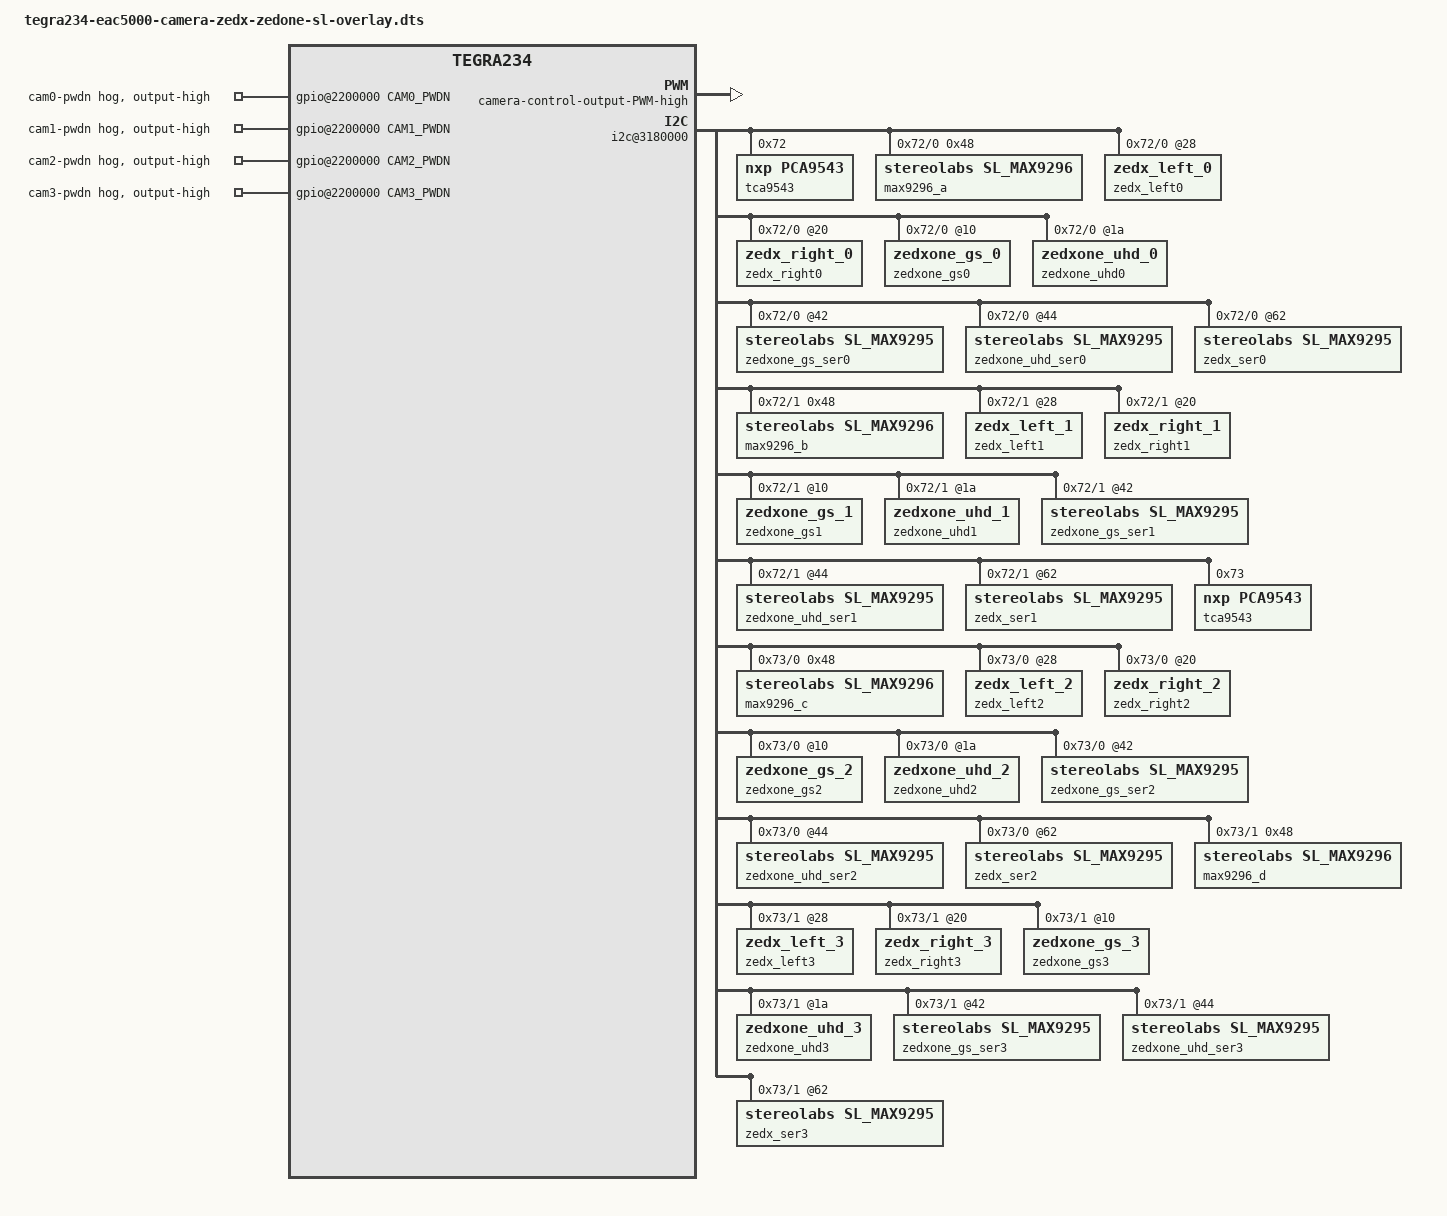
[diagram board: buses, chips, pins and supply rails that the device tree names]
/*
 * Copyright (c) 2018-2022, NVIDIA CORPORATION.  All rights reserved.
 *
 * This program is free software; you can redistribute it and/or modify
 * it under the terms of the GNU General Public License as published by
 * the Free Software Foundation; either version 2 of the License, or
 * (at your option) any later version.
 *
 * This program is distributed in the hope that it will be useful, but WITHOUT
 * ANY WARRANTY; without even the implied warranty of MERCHANTABILITY or
 * FITNESS FOR A PARTICULAR PURPOSE.  See the GNU General Public License for
 * more details.
 *
 * You should have received a copy of the GNU General Public License
 * along with this program.  If not, see <http://www.gnu.org/licenses/>.
 */

/dts-v1/;
/plugin/;

#include "tegra234-camera-zedx-zedxone-zedxoneuhd-eac5000-agx.dtsi"

#include "dt-bindings/clock/tegra234-clock.h"
//#include <dt-bindings/tegra234-p3767-0000-common.h>

//#include "tegra234-camera-zedlink-quad-p3737-agx.dtsi"
#include "dt-bindings/gpio/tegra234-gpio.h"
#include <dt-bindings/tegra234-p3737-0000+p3701-0000.h>

#define CAM0_RST	TEGRA234_MAIN_GPIO(H, 3)
#define CAM1_RST	TEGRA234_MAIN_GPIO(AC, 1)

#define CAM0_PWDN	TEGRA234_MAIN_GPIO(H, 6)
#define CAM1_PWDN	TEGRA234_MAIN_GPIO(AC, 0)
#define CAM2_PWDN	TEGRA234_MAIN_GPIO(H, 3)
#define CAM3_PWDN	TEGRA234_MAIN_GPIO(AC, 1)
#define CAM_PWM		TEGRA234_MAIN_GPIO(M, 7)
#define CAMERA_I2C_MUX_BUS(x) (0x1E + x)


/* camera control gpio definitions */

/*/delete-node/ &cam_i2cmux;*/

/ {	
	overlay-name = "EAC5000 StereoLabs Camera ZED Device Tree Overlay";
	jetson-header-name = "Jetson AGX CSI Connector";
	compatible = JETSON_COMPATIBLE;

	fragment-camera-imx185@0 {
		target-path = "/";
		__overlay__ {
			bus@0 {
				gpio@2200000 {
					camera-control-output-low {
						status = "disabled";
					};
				};
			};
		};
	};
	fragment-camera-imx274@0 {
		target-path = "/";
		__overlay__ {
			bus@0 {
				gpio@2200000 {
					camera-control-output-low {
						status = "disabled";
					};
				};
			};
		};
	};
	/* E3333 camera */
	fragment@0 {
		target-path = "/";
		__overlay__ {
			bus@0 {
				gpio@2200000 {
					camera-control-output-low {
						status = "disabled";
					};
				};
			};
		};
	};
	/* E3331 camera */
	fragment-camera@0 {
		target-path = "/";
		__overlay__ {
			bus@0 {
				gpio@2200000 {
					camera-control-output-low {
						status = "disabled";
					};
				};
			};
		};
	};
	fragment-camera-module@0 {
		target-path = "/";
		__overlay__ {
			bus@0 {
				gpio@2200000 {
					camera-control-output-low {
						status = "disabled";
					};
				};
			};
		};
	};
	fragment-camera-howl@0 {
		target-path = "/";
		__overlay__ {
			bus@0 {
				gpio@2200000 {
					camera-control-output-low {
						status = "disabled";
					};
				};
			};
		};
	};

	fragment-camera-vecow-zedx@0 {
		target-path = "/";
		__overlay__ {
			bus@0 {
				i2c@3180000 {
					tca9543@72 {
						compatible = "nxp,pca9543";
						reg = <0x72>;
						#address-cells = <1>;
						#size-cells = <0>;
						i2c-mux-idle-disconnect;
						idle-state = <1>;
						skip_mux_detect = "yes";
						status = "okay";
						force_bus_start = <CAMERA_I2C_MUX_BUS(0)>; /* Force start of bus 30 */
						/* /dev/i2c-30/ */
						i2c@0 {
							reg = <0>;
							i2c-mux,deselect-on-exit;
							#address-cells = <1>;
							#size-cells = <0>;
							status = "okay";
							/* deserializer MAX9296 at address 0x48*/

							max9296_a@48 {
								compatible = "stereolabs,sl_max9296";
								reg = <0x48>;  /* deserializer i2c_address */
								channel = "a"; /* deserializer channel: one per deser */
								camera-serializers = <&zedx_ser0 &zedxone_gs_ser0 &zedxone_uhd_ser0>;
								sync_mode = "master";
							};

							/* ZEDX 0 Left Cam*/
							zedx_left0:zedx_left_0@28 {
								status = "okay";
								/* Define any required hw resources needed by driver */
								/* ie. clocks, io pins, power sources */
								def-addr = <0x28>;
								clocks = <&bpmp TEGRA234_CLK_EXTPERIPH1>,
										<&bpmp TEGRA234_CLK_EXTPERIPH1>;
								clock-names = "extperiph1", "pllp_grtba";
								mclk = "extperiph1";
								channel = "a"; /* deserializer channel */
								zedx-id = "0";
								mode = "slave"; /* the master role is to initialize */
								/* all the serializers connected to the same */
								/* deserializer. -> one per ZEDX*/
								/* This master initializes the serializers */
								/* of ZEDX 0 and ZEDX 1. */
							};

							/* ZEDX 0 Right Cam*/
							zedx_right0:zedx_right_0@20 {
								status = "okay";
								/* Define any required hw resources needed by driver */
								/* ie. clocks, io pins, power sources */
								def-addr = <0x20>;
								clocks = <&bpmp TEGRA234_CLK_EXTPERIPH1>,
												<&bpmp TEGRA234_CLK_EXTPERIPH1>;
								clock-names = "extperiph1", "pllp_grtba";
								mclk = "extperiph1";
								channel = "a";  /* deserializer channel */
								zedx-id = "0";
								mode = "slave"; /* the serializer of the ZEDX 0 is already */
								/* initialized */
								eeprom-addr = <0x54>;
								has-eeprom;
							};
							
							/* ZEDX One GS 0 Cam*/
							zedxone_gs0:zedxone_gs_0@10 {
								status = "okay";
								/* Define any required hw resources needed by driver */
								/* ie. clocks, io pins, power sources */
								clocks = <&bpmp TEGRA234_CLK_EXTPERIPH1>,
										<&bpmp TEGRA234_CLK_EXTPERIPH1>;
								clock-names = "extperiph1", "pllp_grtba";
								mclk = "extperiph1";
								zedx-id = "1";
								channel = "a";   /* deserializer channel */
								mode = "slave"; /* the master role is to initialize */
										/* all the serializers connected to the same */
										/* deserializer. -> one per ZEDX*/
										/* This master initializes the serializers */
										/* of ZEDX 0 and ZEDX 1. */
								eeprom-addr = <0x56>;
								has-eeprom;
							};

							/*ZEDX One UHD 0 Cam*/
							zedxone_uhd0:zedxone_uhd_0@1a {
								/* Define any required hw resources needed by driver */
								/* ie. clocks, io pins, power sources */
								clocks = <&bpmp TEGRA234_CLK_EXTPERIPH1>,
										<&bpmp TEGRA234_CLK_EXTPERIPH1>;
								clock-names = "extperiph1", "pllp_grtba";
								mclk = "extperiph1";
								zedx-uhd-id = "0";
								channel = "a";
								mode = "slave";
								has-eeprom;
								eeprom-addr=<0x54>;
							};

							/* Serializers */
							zedxone_gs_ser0:zedxone_gs_ser_0@42 {
								compatible = "stereolabs,sl_max9295";
								channel = "a";
								camera_model = "zedonegs";
								mode = "master";
								zedx-id = "1";
								camera-sensors = <&zedxone_gs0>;
							};

							zedxone_uhd_ser0:zedxone_uhd_ser_0@44 {
								compatible = "stereolabs,sl_max9295";
								channel = "a";
								camera_model = "zedone4k";
								mode = "master";
								camera-sensors = <&zedxone_uhd0>;
								zedx-uhd-id = "0";
							};

							zedx_ser0:zedx_ser_0@62 {
								compatible = "stereolabs,sl_max9295";
								channel = "a";
								camera_model = "zedx";
								mode = "master";
								zedx-id = "0";
								camera-sensors = <&zedx_left0 &zedx_right0>;
							};
						};

						/* /dev/i2c-31/ */
						i2c@1 {

							reg = <1>;
							i2c-mux,deselect-on-exit;
							#address-cells = <1>;
							#size-cells = <0>;
							//status = "okay";

							/* deserializer MAX9296 at address 0x48*/
							max9296_b@48 {
								compatible = "stereolabs,sl_max9296";
								reg = <0x48>;  /* deserializer i2c_address */
								channel = "b"; /* deserializer channel: one per deser */
								camera-serializers = <&zedx_ser1 &zedxone_gs_ser1 &zedxone_uhd_ser1>;
							};

							/* ZEDX 1 Left Cam*/
							zedx_left1:zedx_left_1@28 {
								status = "okay";
								def-addr = <0x28>;
								/* Define any required hw resources needed by driver */
								/* ie. clocks, io pins, power sources */
								clocks = <&bpmp TEGRA234_CLK_EXTPERIPH1>,
										<&bpmp TEGRA234_CLK_EXTPERIPH1>;
								clock-names = "extperiph1", "pllp_grtba";
								mclk = "extperiph1";
								channel = "b";  /* deserializer channel: same as ZEDX 0 */
								zedx-id = "2";
								mode = "slave"; /* the serializer of the ZEDX 1 is */
										/* initialized at the same time as the*/
										/* serializer of the ZEDX 0 */
								eeprom-addr = <0x54>;
								has-eeprom;
							};

							/* ZEDX 1 Right Cam*/
							zedx_right1:zedx_right_1@20 {
								status = "okay";
								def-addr = <0x20>;
								/* Define any required hw resources needed by driver */
								/* ie. clocks, io pins, power sources */
								clocks = <&bpmp TEGRA234_CLK_EXTPERIPH1>,
												<&bpmp TEGRA234_CLK_EXTPERIPH1>;
								clock-names = "extperiph1", "pllp_grtba";
								mclk = "extperiph1";
								channel = "b"; /* deserializer channel: same as ZEDX 0 */
								zedx-id = "2";
								mode = "slave"; /* the serializer of the ZEDX 1 is */
										/* initialized at the same time as the*/
										/* serializer of the ZEDX 0 */
								eeprom-addr = <0x54>;
								has-eeprom;
							};

							/* ZEDX One GS 1 Cam*/
							zedxone_gs1: zedxone_gs_1@10 {
								status = "okay";
								/* Define any required hw resources needed by driver */
								/* ie. clocks, io pins, power sources */
								clocks = <&bpmp TEGRA234_CLK_EXTPERIPH1>,
										<&bpmp TEGRA234_CLK_EXTPERIPH1>;
								clock-names = "extperiph1", "pllp_grtba";
								mclk = "extperiph1";
								zedx-id = "3";
								channel = "b";   /* deserializer channel */
								mode = "slave"; /* the master role is to initialize */
										/* all the serializers connected to the same */
										/* deserializer. -> one per ZEDX*/
										/* This master initializes the serializers */
										/* of ZEDX 0 and ZEDX 1. */
								eeprom-addr = <0x56>;
								has-eeprom;
							};

							/*ZEDX One UHD 1 Cam*/
							zedxone_uhd1:zedxone_uhd_1@1a {
								/* Define any required hw resources needed by driver */
								/* ie. clocks, io pins, power sources */
								clocks = <&bpmp TEGRA234_CLK_EXTPERIPH1>,
										<&bpmp TEGRA234_CLK_EXTPERIPH1>;
								clock-names = "extperiph1", "pllp_grtba";
								mclk = "extperiph1";
								zedx-uhd-id = "1";
								channel = "b";
								mode = "slave";
								has-eeprom;
								eeprom-addr=<0x54>;
							};

							/* Serializers */
							zedxone_gs_ser1: zedxone_gs_ser_1@42 {
								compatible = "stereolabs,sl_max9295";
								channel = "b";
								mode = "master";
								camera_model = "zedonegs";
								zedx-id = "3";
								camera-sensors = <&zedxone_gs1>;
							};
				
							zedxone_uhd_ser1: zedxone_uhd_ser_1@44 {
								compatible = "stereolabs,sl_max9295";
								channel = "b";
								camera_model = "zedone4k";
								mode = "master";
								camera-sensors = <&zedxone_uhd1>;
								zedx-uhd-id = "1";
							};

							zedx_ser1:zedx_ser_1@62 {
								compatible = "stereolabs,sl_max9295";
								channel = "b";
								camera_model = "zedx";
								mode = "master";
								zedx-id = "2";
								camera-sensors = <&zedx_left1 &zedx_right1>;
							};
						};
					};
				};

				gpio@2200000 {
					status = "okay";
					camera-control-output-CAM0-high {
							status = "okay";
							gpio-hog;
							gpios = <CAM0_PWDN 0>;
							output-high;
							label = "cam0-pwdn";
					};
					camera-control-output-CAM1-high {
							status = "okay";
							gpio-hog;
							gpios = <CAM1_PWDN 0>;
							output-high;
							label = "cam1-pwdn";
					};
					camera-control-output-CAM2-high {
							status = "okay";
							gpio-hog;
							gpios = <CAM2_PWDN 0>;
							output-high;
							label = "cam2-pwdn";
					};
					camera-control-output-CAM3-high {
							status = "okay";
							gpio-hog;
							gpios = <CAM3_PWDN 0>;
							output-high;
							label = "cam3-pwdn";
					};
					camera-control-output-PWM-high {
							status = "okay";
							gpio-hog;
							gpios = <CAM_PWM 0>;
							output-high;
							label = "cam-pwm";
					};
				};
			};
		};
	};

	fragment-camera-vecow-zedx@1 {
		target-path = "/";
		__overlay__ {
			bus@0 {
				i2c@3180000 {
					tca9543@73 {
						compatible = "nxp,pca9543";
						reg = <0x73>;
						#address-cells = <1>;
						#size-cells = <0>;
						i2c-mux-idle-disconnect;
						idle-state = <1>;
						skip_mux_detect = "yes";
						status = "okay";
						force_bus_start = <CAMERA_I2C_MUX_BUS(2)>; /* Force start of bus 30 */
						i2c@0 {
							reg = <0>;
						    i2c-mux,deselect-on-exit;
							i2c-mux-idle-disconnect;
							#address-cells = <1>;
							#size-cells = <0>;
							//status = "okay";

							/* deserializer MAX9296 at address 0x48*/
							max9296_c@48 {
								compatible = "stereolabs,sl_max9296";
								reg = <0x48>;  /* deserializer i2c_address */
								channel = "c"; /* deserializer channel: one per deser */
								camera-serializers = <&zedx_ser2 &zedxone_gs_ser2 &zedxone_uhd_ser2>;
							};

							/* ZEDX 2 Left Cam*/
							zedx_left2:zedx_left_2@28 {
								status = "okay";
								def-addr = <0x28>;
								/* Define any required hw resources needed by driver */
								/* ie. clocks, io pins, power sources */
								clocks = <&bpmp TEGRA234_CLK_EXTPERIPH1>,
										<&bpmp TEGRA234_CLK_EXTPERIPH1>;
								clock-names = "extperiph1", "pllp_grtba";
								mclk = "extperiph1";
								channel = "c";   /* deserializer channel */
								zedx-id = "4";
								mode = "slave"; /* the master role is to initialize */
										/* all the serializers connected to the same */
										/* deserializer. -> one per ZEDX*/
										/* This master initializes the serializers */
										/* of ZEDX 0 and ZEDX 1. */
							};

							/* ZEDX 2 Right Cam*/
							zedx_right2:zedx_right_2@20 {
								status = "okay";
								def-addr = <0x20>;
								/* Define any required hw resources needed by driver */
								/* ie. clocks, io pins, power sources */
								clocks = <&bpmp TEGRA234_CLK_EXTPERIPH1>,
												<&bpmp TEGRA234_CLK_EXTPERIPH1>;
								clock-names = "extperiph1", "pllp_grtba";
								mclk = "extperiph1";
								zedx-id = "4";
								channel = "c";  /* deserializer channel */
								mode = "slave"; /* the serializer of the ZEDX 0 is already */
										/* initialized */
								eeprom-addr = <0x54>;
								has-eeprom;
							};

							/* ZEDX One GS 2 Cam*/
							zedxone_gs2: zedxone_gs_2@10 {
								status = "okay";
								/* Define any required hw resources needed by driver */
								/* ie. clocks, io pins, power sources */
								clocks = <&bpmp TEGRA234_CLK_EXTPERIPH1>,
										<&bpmp TEGRA234_CLK_EXTPERIPH1>;
								clock-names = "extperiph1", "pllp_grtba";
								mclk = "extperiph1";
								zedx-id = "5";
								channel = "c";   /* deserializer channel */
								mode = "slave"; /* the master role is to initialize */
										/* all the serializers connected to the same */
										/* deserializer. -> one per ZEDX*/
										/* This master initializes the serializers */
										/* of ZEDX 0 and ZEDX 1. */
								eeprom-addr = <0x56>;
								has-eeprom;
							};

							/*ZEDX One UHD 2 Cam*/
							zedxone_uhd2:zedxone_uhd_2@1a {
								/* Define any required hw resources needed by driver */
								/* ie. clocks, io pins, power sources */
								clocks = <&bpmp TEGRA234_CLK_EXTPERIPH1>,
										<&bpmp TEGRA234_CLK_EXTPERIPH1>;
								clock-names = "extperiph1", "pllp_grtba";
								mclk = "extperiph1";
								zedx-uhd-id = "2";
								channel = "c";
								mode = "slave";
								has-eeprom;
								eeprom-addr=<0x54>;
							};

							/* Serializers */
							zedxone_gs_ser2: zedxone_gs_ser_2@42 {
								compatible = "stereolabs,sl_max9295";
								channel = "c";
								mode = "master";
								camera_model = "zedonegs";
								zedx-id = "5";
								camera-sensors = <&zedxone_gs2>;
							};
				
							zedxone_uhd_ser2: zedxone_uhd_ser_2@44 {
								compatible = "stereolabs,sl_max9295";
								channel = "c";
								camera_model = "zedone4k";
								mode = "master";
								camera-sensors = <&zedxone_uhd2>;
								zedx-uhd-id = "2";
							};

							zedx_ser2:zedx_ser_2@62 {
								compatible = "stereolabs,sl_max9295";
								channel = "c";
								camera_model = "zedx";
								mode = "master";
								zedx-id = "4";
								camera-sensors = <&zedx_left2 &zedx_right2>;
							};
						};
						
						/* /dev/i2c-31/ */
						i2c@1 {
							reg = <1>;
							i2c-mux,deselect-on-exit;
							i2c-mux-idle-disconnect;
							#address-cells = <1>;
							#size-cells = <0>;
							//status = "okay";

							/* deserializer MAX9296 at address 0x48*/
							max9296_d@48 {
								compatible = "stereolabs,sl_max9296";
								reg = <0x48>;  /* deserializer i2c_address */
								channel = "d"; /* deserializer channel: one per deser */
								camera-serializers = <&zedx_ser3 &zedxone_gs_ser3 &zedxone_uhd_ser3>;
							};

							/* ZEDX 3 Left Cam*/
							zedx_left3:zedx_left_3@28 {
								status = "okay";
								def-addr = <0x28>;
								/* Define any required hw resources needed by driver */
								/* ie. clocks, io pins, power sources */
								clocks = <&bpmp TEGRA234_CLK_EXTPERIPH1>,
										<&bpmp TEGRA234_CLK_EXTPERIPH1>;
								clock-names = "extperiph1", "pllp_grtba";
								mclk = "extperiph1";
								channel = "d";   /* deserializer channel */
								zedx-id = "6";
								mode = "slave"; /* the master role is to initialize */
								/* all the serializers connected to the same */
								/* deserializer. -> one per ZEDX*/
								/* This master initializes the serializers */
								/* of ZEDX 0 and ZEDX 1. */
							};

							/* ZEDX 3 Right Cam*/
							zedx_right3:zedx_right_3@20 {
								status = "okay";
								def-addr = <0x20>;
								/* Define any required hw resources needed by driver */
								/* ie. clocks, io pins, power sources */
								clocks = <&bpmp TEGRA234_CLK_EXTPERIPH1>,
												<&bpmp TEGRA234_CLK_EXTPERIPH1>;
								clock-names = "extperiph1", "pllp_grtba";
								mclk = "extperiph1";
								channel = "d";  /* deserializer channel */
								zedx-id = "6";
								mode = "slave"; /* the serializer of the ZEDX 0 is already */
								/* initialized */
								eeprom-addr = <0x54>;
								has-eeprom;
							};

							/* ZEDX One GS 3 Cam*/
							zedxone_gs3: zedxone_gs_3@10 {
								status = "okay";
								/* Define any required hw resources needed by driver */
								/* ie. clocks, io pins, power sources */
								clocks = <&bpmp TEGRA234_CLK_EXTPERIPH1>,
										<&bpmp TEGRA234_CLK_EXTPERIPH1>;
								clock-names = "extperiph1", "pllp_grtba";
								mclk = "extperiph1";
								zedx-id = "7";
								channel = "d";   /* deserializer channel */
								mode = "slave"; /* the master role is to initialize */
										/* all the serializers connected to the same */
										/* deserializer. -> one per ZEDX*/
										/* This master initializes the serializers */
										/* of ZEDX 0 and ZEDX 1. */
								eeprom-addr = <0x56>;
								has-eeprom;
							};

							/*ZEDX One UHD 3 Cam*/
							zedxone_uhd3:zedxone_uhd_3@1a {
								/* Define any required hw resources needed by driver */
								/* ie. clocks, io pins, power sources */
								clocks = <&bpmp TEGRA234_CLK_EXTPERIPH1>,
										<&bpmp TEGRA234_CLK_EXTPERIPH1>;
								clock-names = "extperiph1", "pllp_grtba";
								mclk = "extperiph1";
								zedx-uhd-id = "3";
								channel = "d";
								mode = "slave";
								has-eeprom;
								eeprom-addr=<0x54>;
							};

							/* Serializers */
							zedxone_gs_ser3: zedxone_gs_ser_3@42 {
								compatible = "stereolabs,sl_max9295";
								channel = "d";
								mode = "master";
								camera_model = "zedonegs";
								zedx-id = "7";
								camera-sensors = <&zedxone_gs3>;
							};
				
							zedxone_uhd_ser3: zedxone_uhd_ser_3@44 {
								compatible = "stereolabs,sl_max9295";
								channel = "d";
								camera_model = "zedone4k";
								mode = "master";
								camera-sensors = <&zedxone_uhd3>;
								zedx-uhd-id = "3";
							};

							zedx_ser3:zedx_ser_3@62 {
								compatible = "stereolabs,sl_max9295";
								channel = "d";
								camera_model = "zedx";
								mode = "master";
								zedx-id = "6";
								camera-sensors = <&zedx_left3 &zedx_right3>;
							};
						};
					};
				};

				gpio@2200000 {
					status = "okay";
					camera-control-output-CAM2-high {
							status = "okay";
							gpio-hog;
							gpios = <CAM2_PWDN 0>;
							output-high;
							label = "cam2-pwdn";
					};
					camera-control-output-CAM3-high {
							status = "okay";
							gpio-hog;
							gpios = <CAM3_PWDN 0>;
							output-high;
							label = "cam3-pwdn";
					};
					camera-control-output-PWM-high {
							status = "okay";
							gpio-hog;
							gpios = <CAM_PWM 0>;
							output-high;
							label = "cam-pwm";
					};
				};
			};
		};
	};
};
